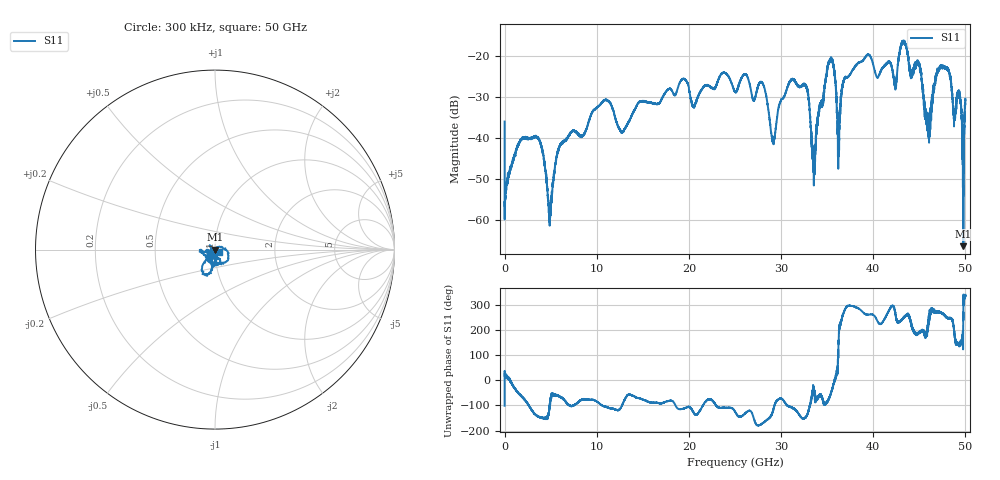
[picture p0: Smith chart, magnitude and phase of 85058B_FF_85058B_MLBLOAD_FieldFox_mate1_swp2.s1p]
!Created with skrf (http://scikit-rf.org).
# Hz S RI R 50.0
!freq ReS11 ImS11
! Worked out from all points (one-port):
!   10001 points, 300 kHz to 50 GHz, reference 50 ohm
!   lowest |S11| = -66.3 dB at 49.78 GHz (marker M1), VSWR 1.00, Z = 50 - j0.0408 ohm
!   |S11| at or under -10 dB: start of sweep to end of sweep
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300000  -0.00315 -0.0156
2.552985e8  0.00274 0.000837
1.72029e9  0.00476 -0.00802
3.585278e9  -0.00782 -0.00605
4.910271e9  -2.58e-05 -0.0011
6.250262e9  0.00274 -0.00835
1.091023e10  -0.0074 -0.0282
1.250022e10  -0.00534 -0.0114
1.875019e10  -0.0143 -0.0368
2.500015e10  -0.0208 -0.03
2.796013e10  -0.0464 -0.00698
2.914513e10  -0.00468 -0.00795
3.125011e10  -0.0183 -0.0493
3.27701e10  -0.0319 -0.0246
3.35501e10  0.00378 -0.00378
3.523509e10  0.0322 -0.0808
3.569509e10  0.0754 -0.0194
3.624508e10  -0.00518 0.00299
3.750008e10  0.0267 -0.0537
4.236505e10  0.00226 -0.0427
4.313504e10  -0.0676 -0.1341
4.375004e10  -0.0158 -0.1079
4.499003e10  -0.0749 -0.0122
4.597002e10  -0.00918 -0.00642
4.698502e10  0.00322 -0.0627
4.801501e10  -0.0257 -0.0654
4.978e10  -0.000257 -0.000408
5e10  0.027 -0.0102
